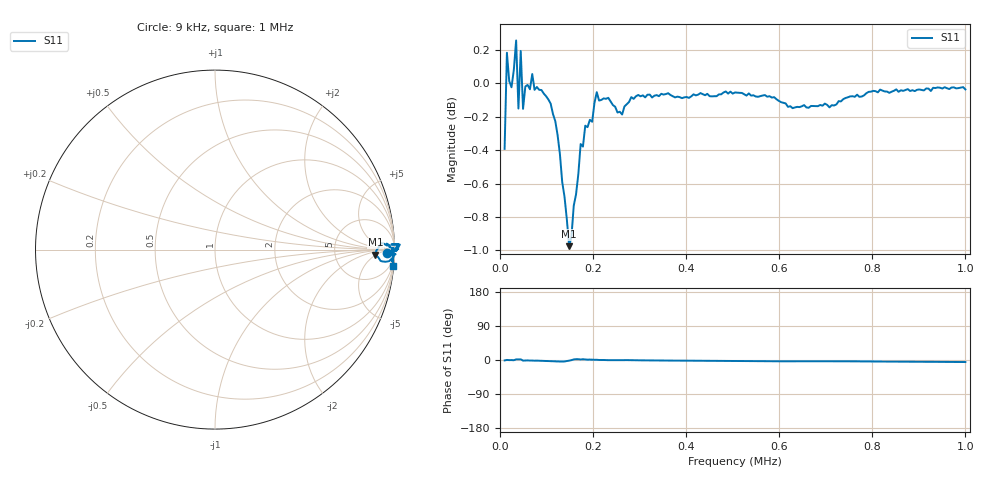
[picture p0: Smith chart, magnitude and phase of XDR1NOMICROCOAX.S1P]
!Agilent Technologies,E5071C,MY46100305,A.07.02
!Date: Fri Jan 01 00:19:01 1988
!Data & Calibration Information:
!Freq	S11:SOLT1(ON)
# Hz S MA R 50
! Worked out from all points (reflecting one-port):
!   201 points, 9 kHz to 1 MHz, reference 50 ohm
!   lowest |S11| = -1.0 dB at 147.7 kHz (marker M1), VSWR 17.82, Z = 827 - j229 ohm
!   phase of S11 starts at -1 deg and turns -4 deg over the sweep
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9000  0.9558 -1.1
13955  1.021 0.2
23865  0.9974 -0.2
28820  1.009 -0.5
33775  1.03 1.5
38730  0.9828 1.7
43685  1.023 1.7
48640  0.9826 -1.6
53595  0.9979 -1.4
68460  1.007 -1.5
103145  0.989 -2.8
118010  0.9743 -3.7
132875  0.9343 -4.0
137830  0.9248 -3.9
147740  0.8938 -1.8
157650  0.919 1.5
162605  0.9263 2.2
172515  0.959 1.3
177470  0.9573 2.0
187380  0.9702 1.0
207200  0.994 0.6
256750  0.9807 -0.6
380625  0.9909 -1.7
504500  0.9938 -2.6
628375  0.9831 -3.4
752250  0.9911 -3.6
876125  0.9961 -4.4
1000000  0.9959 -5.4
